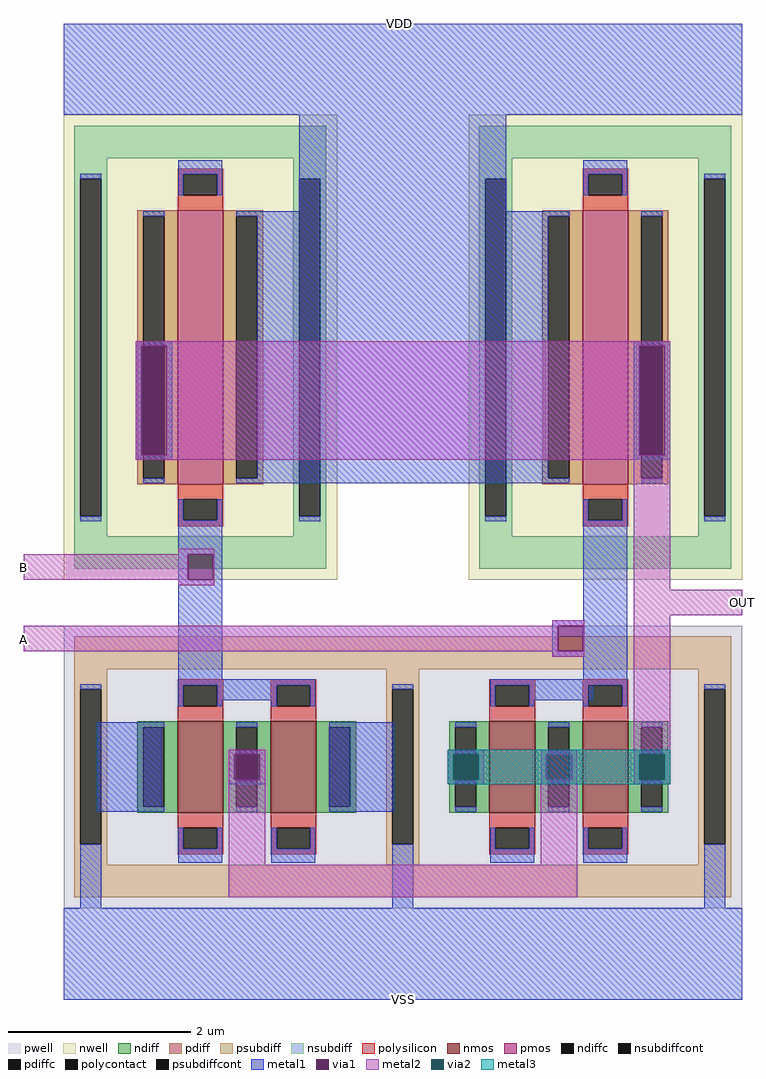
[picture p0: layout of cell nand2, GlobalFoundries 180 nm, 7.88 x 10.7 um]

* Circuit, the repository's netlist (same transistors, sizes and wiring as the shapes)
* NGSPICE file created from nand2.ext - technology: gf180mcuD

.subckt nfet_03v3_EMCFTP a_n378_n286# a_n52_n100# a_52_n192# a_n152_n192# a_152_n100#
+ a_n240_n100#
X0 a_152_n100# a_52_n192# a_n52_n100# a_n378_n286# nfet_03v3 ad=0.44p pd=2.88u as=0.26p ps=1.52u w=1u l=0.5u
X1 a_n52_n100# a_n152_n192# a_n240_n100# a_n378_n286# nfet_03v3 ad=0.26p pd=1.52u as=0.44p ps=2.88u w=1u l=0.5u
.ends

.subckt pfet_03v3_LJVJK4 w_n300_n510# a_n138_n300# a_n50_n392# a_50_n300#
X0 a_50_n300# a_n50_n392# a_n138_n300# w_n300_n510# pfet_03v3 ad=1.32p pd=6.88u as=1.32p ps=6.88u w=3u l=0.5u
.ends

.subckt nand2 VDD OUT A B VSS
XXM1 VSS m1_1652_n588# B B VSS VSS nfet_03v3_EMCFTP
XXM2 VDD OUT B VDD pfet_03v3_LJVJK4
Xnfet_03v3_EMCFTP_0 VSS m1_1652_n588# A A OUT OUT nfet_03v3_EMCFTP
Xpfet_03v3_LJVJK4_0 VDD VDD A OUT pfet_03v3_LJVJK4
.ends

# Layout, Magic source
magic
tech gf180mcuD
magscale 1 10
<< pwell >>
rect 1627 -371 1644 -368
rect 1746 -371 1842 -358
rect 1888 -369 1923 -357
rect 2226 -371 2323 -358
<< metal1 >>
rect 1290 880 2778 1080
rect 1542 749 1638 780
rect 1807 668 2261 880
rect 2430 749 2526 780
rect 1448 373 1528 383
rect 1448 133 1460 373
rect 1516 133 1528 373
rect 1448 123 1528 133
rect 1715 72 2353 668
rect 2540 373 2620 383
rect 2540 133 2552 373
rect 2608 133 2620 373
rect 2540 123 2620 133
rect 1542 -84 1638 -9
rect 1542 -140 1562 -84
rect 1618 -140 1638 -84
rect 1542 -358 1638 -140
rect 2430 -228 2526 -9
rect 2362 -240 2526 -228
rect 2362 -296 2374 -240
rect 2430 -296 2526 -240
rect 2362 -308 2526 -296
rect 2430 -358 2526 -308
rect 1542 -371 1842 -358
rect 2226 -371 2526 -358
rect 1638 -404 1746 -371
rect 2322 -404 2452 -371
rect 1363 -648 1505 -452
rect 1652 -522 1732 -512
rect 1652 -578 1664 -522
rect 1720 -578 1732 -522
rect 1652 -588 1732 -578
rect 1873 -648 2015 -452
rect 2132 -522 2212 -512
rect 2132 -578 2144 -522
rect 2200 -578 2212 -522
rect 2132 -588 2212 -578
rect 2336 -522 2416 -512
rect 2336 -578 2348 -522
rect 2404 -578 2416 -522
rect 2336 -588 2416 -578
rect 2540 -522 2620 -512
rect 2540 -578 2552 -522
rect 2608 -578 2620 -522
rect 2540 -588 2620 -578
rect 1327 -860 1373 -731
rect 1542 -760 1638 -729
rect 1746 -760 1842 -729
rect 2011 -860 2057 -731
rect 2226 -760 2322 -729
rect 2430 -760 2526 -729
rect 2695 -860 2741 -720
rect 1290 -1060 2778 -860
<< via1 >>
rect 1460 133 1516 373
rect 2552 133 2608 373
rect 1562 -140 1618 -84
rect 2374 -296 2430 -240
rect 1664 -578 1720 -522
rect 2144 -578 2200 -522
rect 2348 -578 2404 -522
rect 2552 -578 2608 -522
<< metal2 >>
rect 1448 373 2620 383
rect 1448 133 1460 373
rect 1516 133 2552 373
rect 2608 133 2620 373
rect 1448 123 2620 133
rect 1542 -84 1620 -72
rect 1203 -140 1562 -84
rect 1618 -140 1620 -84
rect 1542 -152 1620 -140
rect 2540 -162 2620 123
rect 2540 -218 2778 -162
rect 2362 -240 2432 -228
rect 1203 -296 2374 -240
rect 2430 -296 2432 -240
rect 2362 -308 2432 -296
rect 1652 -522 1732 -512
rect 1652 -578 1664 -522
rect 1720 -578 1732 -522
rect 1652 -764 1732 -578
rect 2132 -522 2212 -512
rect 2132 -578 2144 -522
rect 2200 -578 2212 -522
rect 2132 -588 2212 -578
rect 2336 -522 2416 -512
rect 2336 -578 2348 -522
rect 2404 -578 2416 -522
rect 2336 -764 2416 -578
rect 2540 -522 2620 -218
rect 2540 -578 2552 -522
rect 2608 -578 2620 -522
rect 2540 -588 2620 -578
rect 1652 -836 2416 -764
<< via2 >>
rect 2144 -578 2200 -522
rect 2552 -578 2608 -522
<< metal3 >>
rect 2132 -522 2620 -512
rect 2132 -578 2144 -522
rect 2200 -578 2552 -522
rect 2608 -578 2620 -522
rect 2132 -588 2620 -578
use nfet_03v3_EMCFTP  nfet_03v3_EMCFTP_0
transform 1 0 2376 0 1 -550
box -402 -310 402 310
use pfet_03v3_LJVJK4  pfet_03v3_LJVJK4_0
transform 1 0 2478 0 1 370
box -300 -510 300 510
use nfet_03v3_EMCFTP  XM1
transform 1 0 1692 0 1 -550
box -402 -310 402 310
use pfet_03v3_LJVJK4  XM2
transform 1 0 1590 0 1 370
box -300 -510 300 510
<< labels >>
rlabel metal1 2026 1080 2026 1080 1 VDD
port 0 n
rlabel metal2 2778 -190 2778 -190 3 OUT
port 1 e
rlabel metal2 1203 -271 1203 -271 7 A
port 2 w
rlabel metal2 1203 -113 1203 -113 7 B
port 3 w
rlabel metal1 2035 -1060 2035 -1060 5 VSS
port 4 s
<< end >>

# cell nfet_03v3_EMCFTP: kit device nfet_03v3, w 1.0 l 0.5 m 1 nf 2 diffcov 100 polycov 100 guard 1 glc 1 grc 1 gtc 0 gbc 0 tbcov 100 rlcov 100 topc 1 botc 1 poverlap 0 doverlap 1 lmin 0.28 wmin 0.22 class mosfet full_metal 0 compatible {nfet_03v3 nfet_06v0 nfet_06v0_nvt}

# cell pfet_03v3_LJVJK4: kit device pfet_03v3, w 3.0 l 0.5 m 1 nf 1 diffcov 100 polycov 100 guard 1 glc 1 grc 1 gtc 0 gbc 0 tbcov 100 rlcov 100 topc 1 botc 1 poverlap 0 doverlap 1 lmin 0.28 wmin 0.22 class mosfet full_metal 0 compatible {pfet_03v3 pfet_06v0}
